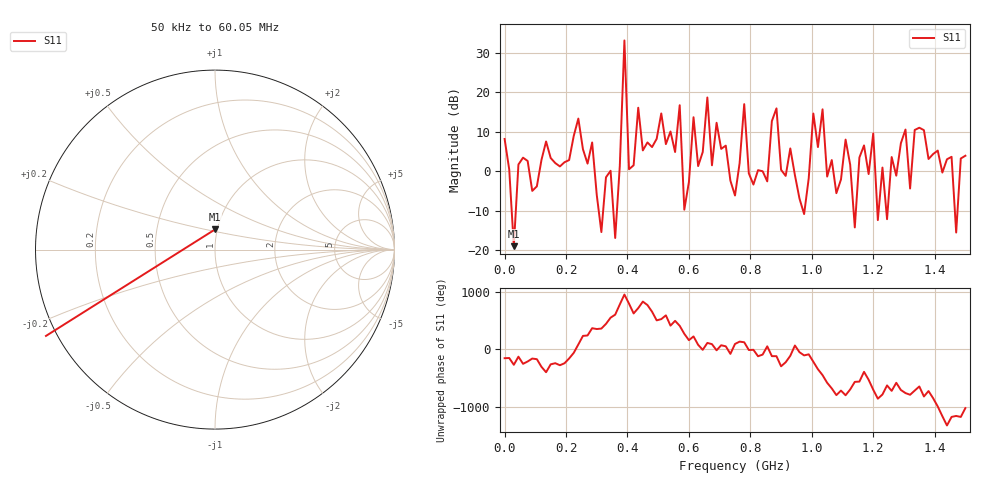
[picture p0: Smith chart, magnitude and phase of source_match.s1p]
! Created with skrf 1.8.0 (http://scikit-rf.org).
# Hz S RI R 50.0
!freq ReS11 ImS11
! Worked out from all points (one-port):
!   101 points, 50 kHz to 1.5 GHz, reference 50 ohm
!   lowest |S11| = -18.9 dB at 30.05 MHz (marker M1), VSWR 1.26, Z = 48.9 + j11.2 ohm
!   |S11| at or under -10 dB: 23.15 MHz to 36.53 MHz (13.38 MHz wide, 44.9 % of centre); 306.5 MHz to 320.8 MHz (14.39 MHz wide, 4.59 % of centre); 354 MHz to 365.7 MHz (11.71 MHz wide, 3.25 % of centre) (the widest 3 of 8)
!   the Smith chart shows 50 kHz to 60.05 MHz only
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50000  -2.346 -1.035
3.0049e7  0.00143 0.1131
1.950435e8  -0.5712 1.171
3.750375e8  0.6073 0.9978
3.90037e8  -28.5 -34.99
4.050365e8  0.3197 1.012
4.350355e8  6.337 -0.6024
4.50035e8  -0.5695 1.747
5.10033e8  -5.171 1.534
5.70031e8  4.664 5.019
6.150295e8  -3.573 -3.243
6.450285e8  1.724 -0.3276
6.60028e8  -2.884 8.079
6.90027e8  3.888 -1.331
7.50025e8  -0.012 0.4944
7.80024e8  -3.658 6.047
7.950235e8  0.914 -0.226
8.550215e8  0.4753 0.5749
8.850205e8  -3.229 -5.35
9.0002e8  0.4752 0.9299
9.450185e8  0.3848 0.809
1.005016e9  -4.225 3.328
1.020016e9  1.98 0.417
1.035016e9  -0.0598 -6.078
1.050015e9  -0.6159 0.5964
1.125012e9  1.127 0.4321
1.320006e9  0.1896 -0.5757
1.5e9  0.8708 1.311
